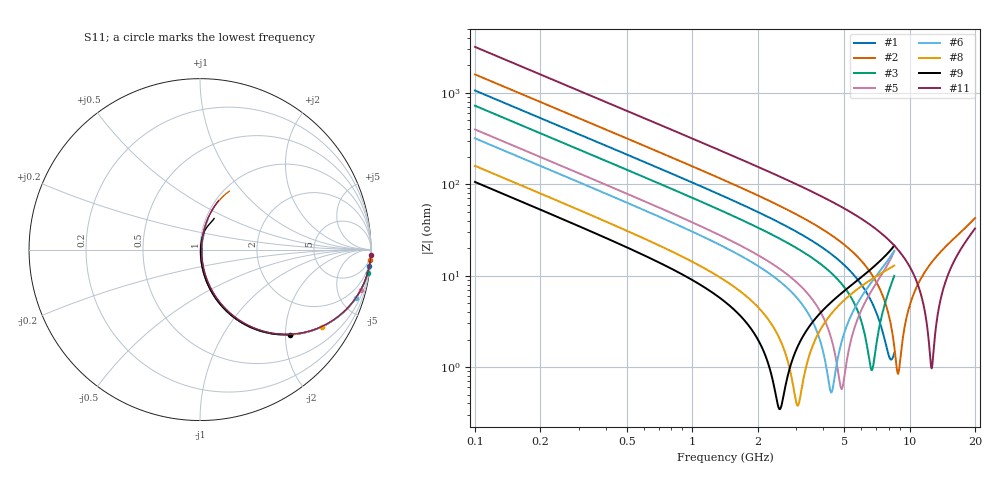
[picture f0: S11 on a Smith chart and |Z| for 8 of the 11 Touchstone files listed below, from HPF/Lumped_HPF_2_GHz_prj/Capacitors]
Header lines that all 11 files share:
!These Parameters are Measured in Series Mode Connection
!  o--ll--o
!Port1  Port2
!  o------o
!Operation Temp=25[degC], DC Bias Voltage=0[V]
# Hz S RI R 50
!Freq.(Hz) S11(Real) S11(Imag) S21(Real) S21(Imag) S12(Real) S12(Imag) S22(Real) S22(Imag)
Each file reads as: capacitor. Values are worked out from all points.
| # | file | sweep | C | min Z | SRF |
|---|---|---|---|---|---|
| 1 | 1p5.s2p | 100 MHz to 8.5 GHz | 1.5 pF | 1.2 ohm | 8.238 GHz |
| 2 | 1pF.s2p | 100 MHz to 20 GHz | 1 pF | 840 mohm | 8.845 GHz |
| 3 | 2p2.s2p | 100 MHz to 8.5 GHz | 2.2 pF | 925 mohm | 6.707 GHz |
| 4 | 3p3.s2p | 100 MHz to 8.5 GHz | 3.3 pF | 635 mohm | 5.354 GHz |
| 5 | 4pF.s2p | 100 MHz to 8.5 GHz | 4 pF | 574 mohm | 4.875 GHz |
| 6 | 5pF.s2p | 100 MHz to 8.5 GHz | 5 pF | 527 mohm | 4.368 GHz |
| 7 | 8pF.s2p | 100 MHz to 8.5 GHz | 8 pF | 421 mohm | 3.507 GHz |
| 8 | 10pF.s2p | 100 MHz to 8.5 GHz | 10 pF | 378 mohm | 3.058 GHz |
| 9 | 15pF.s2p | 100 MHz to 8.5 GHz | 15 pF | 347 mohm | 2.529 GHz |
| 10 | 100pF.s2p | 100 Hz to 6 GHz | 103 pF | 957 mohm | 1.05 GHz |
| 11 | p50.s2p | 100 MHz to 20 GHz | 500 fF | 967 mohm | 12.63 GHz |
